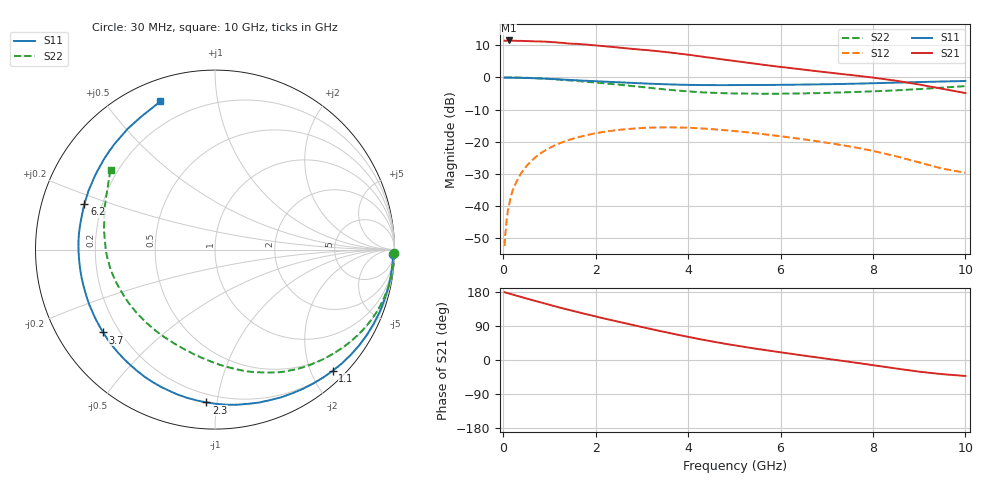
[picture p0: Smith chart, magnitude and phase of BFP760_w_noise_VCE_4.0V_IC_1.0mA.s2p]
! Infineon Technologies  Discrete & RF Semiconductors
! BFP760
! VCE =  4.0 V,  IC =  1.0 mA
! Common Emitter S-Parameters:  Nov 2012
# GHz  S  MA  R  50
!  f  S11  S21  S12  S22
! GHz  MAG  ANG  MAG  ANG  MAG  ANG  MAG  ANG
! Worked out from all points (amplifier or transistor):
!   99 points, 30 MHz to 10 GHz, reference 50 ohm
!   highest |S21| = 11.5 dB at 120 MHz (marker M1)
!   |S21| within 3 dB of that: start of sweep to 3.113 GHz
!   unconditionally stable (mu >= 1): 7.661 GHz to end of sweep
!   at 350 MHz: K = 0.05, MSG = 21.0 dB, |S12| = -30.7 dB
!   at 3.5 GHz: K = 0.28, MSG = 11.7 dB, |S12| = -15.5 dB
!   at 10 GHz: K = 2.17, MAG = 6.3 dB, |S12| = -29.6 dB
!   lowest NFmin = 0.56 dB at 900 MHz
!   S11 on the Smith chart (normalised r, x): 30 MHz: 22, -76; 1.1 GHz: 0.20, -2.35; 2.3 GHz: 0.15, -0.93; 3.7 GHz: 0.14, -0.32; 6.2 GHz: 0.13, +0.17; 10 GHz: 0.09, +0.69
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0.03  0.993 -1.4  3.713 178.8  0.0024 83.0  1 -1.1
0.04  0.9931 -1.8  3.683 178.6  0.0035 84.1  1 -1.3
0.08  0.9919 -3.4  3.722 176.9  0.0069 84.4  0.9993 -2.1
0.12  0.991 -5.1  3.748 175.6  0.01 85.7  0.9994 -3.2
0.2  0.9901 -8.4  3.713 172.9  0.0173 83.0  0.9973 -5.3
0.45  0.9827 -18.8  3.671 164.1  0.0377 76.4  0.9887 -11.9
0.8  0.9644 -33.4  3.614 152.4  0.0656 65.8  0.9652 -21.1
1.1  0.9418 -45.8  3.518 142.4  0.087 56.8  0.9363 -28.8
1.3  0.9252 -53.9  3.428 135.9  0.0999 51.0  0.9139 -33.8
1.7  0.8928 -69.9  3.274 123.7  0.1216 40.3  0.867 -43.4
2.3  0.8527 -93.2  3.003 106.3  0.1469 24.8  0.7953 -57.6
2.9  0.8154 -115.4  2.732 89.8  0.1621 10.6  0.7215 -71.3
3.4  0.7881 -133.4  2.53 76.3  0.1672 -0.8  0.6625 -82.9
3.7  0.7758 -143.5  2.394 68.6  0.1674 -7.3  0.6318 -90.0
4.3  0.7608 -161.8  2.105 53.9  0.1611 -19.4  0.5874 -103.9
5.1  0.761 178.9  1.763 36.9  0.1449 -33.0  0.563 -120.6
6.2  0.77 160.8  1.401 16.9  0.117 -47.2  0.5612 -142.3
6.7  0.7785 153.6  1.271 8.4  0.1044 -52.3  0.5688 -152.4
7.6  0.7994 139.8  1.073 -6.7  0.0823 -59.8  0.5944 -170.8
8.5  0.8307 125.8  0.889 -22.4  0.0597 -64.2  0.6291 169.6
9  0.8473 119.0  0.776 -30.8  0.0479 -62.5  0.6592 158.8
10  0.8801 110.3  0.572 -42.1  0.0331 -43.8  0.7327 142.6
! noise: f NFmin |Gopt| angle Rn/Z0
0.9  0.56  0.74  29  0.39
1.8  0.75  0.67  58  0.32
2.4  0.89  0.62  78  0.27
3.5  1.15  0.59  110  0.18
5.5  1.87  0.54  -168  0.1
8  3.1  0.66  -111  0.7
